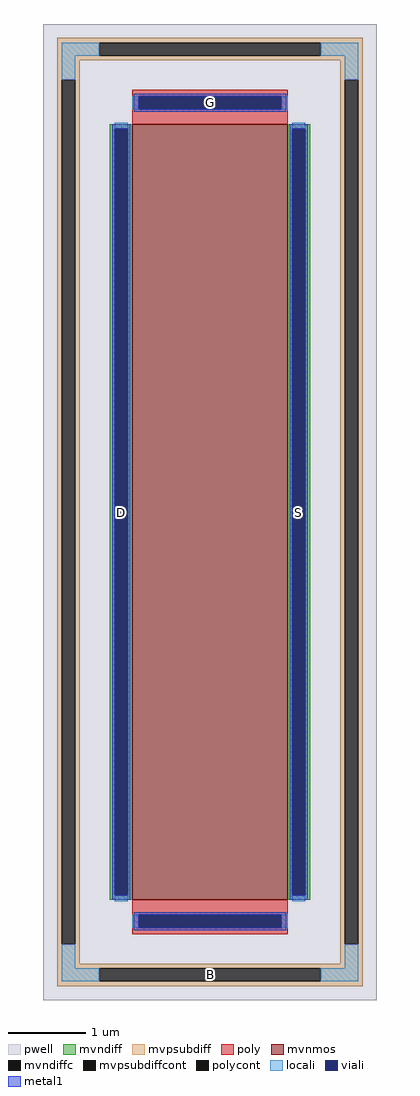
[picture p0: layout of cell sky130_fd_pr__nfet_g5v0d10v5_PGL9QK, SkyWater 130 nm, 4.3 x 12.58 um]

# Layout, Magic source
magic
tech sky130A
magscale 1 2
<< pwell >>
rect -430 -1258 430 1258
<< mvnmos >>
rect -200 -1000 200 1000
<< mvndiff >>
rect -258 988 -200 1000
rect -258 -988 -246 988
rect -212 -988 -200 988
rect -258 -1000 -200 -988
rect 200 988 258 1000
rect 200 -988 212 988
rect 246 -988 258 988
rect 200 -1000 258 -988
<< mvndiffc >>
rect -246 -988 -212 988
rect 212 -988 246 988
<< mvpsubdiff >>
rect -394 1210 394 1222
rect -394 1176 -286 1210
rect 286 1176 394 1210
rect -394 1164 394 1176
rect -394 1114 -336 1164
rect -394 -1114 -382 1114
rect -348 -1114 -336 1114
rect 336 1114 394 1164
rect -394 -1164 -336 -1114
rect 336 -1114 348 1114
rect 382 -1114 394 1114
rect 336 -1164 394 -1114
rect -394 -1176 394 -1164
rect -394 -1210 -286 -1176
rect 286 -1210 394 -1176
rect -394 -1222 394 -1210
<< mvpsubdiffcont >>
rect -286 1176 286 1210
rect -382 -1114 -348 1114
rect 348 -1114 382 1114
rect -286 -1210 286 -1176
<< poly >>
rect -200 1072 200 1088
rect -200 1038 -184 1072
rect 184 1038 200 1072
rect -200 1000 200 1038
rect -200 -1038 200 -1000
rect -200 -1072 -184 -1038
rect 184 -1072 200 -1038
rect -200 -1088 200 -1072
<< polycont >>
rect -184 1038 184 1072
rect -184 -1072 184 -1038
<< locali >>
rect -382 1176 -286 1210
rect 286 1176 382 1210
rect -382 1114 -348 1176
rect 348 1114 382 1176
rect -200 1038 -184 1072
rect 184 1038 200 1072
rect -246 988 -212 1004
rect -246 -1004 -212 -988
rect 212 988 246 1004
rect 212 -1004 246 -988
rect -200 -1072 -184 -1038
rect 184 -1072 200 -1038
rect -382 -1176 -348 -1114
rect 348 -1176 382 -1114
rect -382 -1210 -286 -1176
rect 286 -1210 382 -1176
<< viali >>
rect -184 1038 184 1072
rect -246 -988 -212 988
rect 212 -988 246 988
rect -184 -1072 184 -1038
<< metal1 >>
rect -196 1072 196 1078
rect -196 1038 -184 1072
rect 184 1038 196 1072
rect -196 1032 196 1038
rect -252 988 -206 1000
rect -252 -988 -246 988
rect -212 -988 -206 988
rect -252 -1000 -206 -988
rect 206 988 252 1000
rect 206 -988 212 988
rect 246 -988 252 988
rect 206 -1000 252 -988
rect -196 -1038 196 -1032
rect -196 -1072 -184 -1038
rect 184 -1072 196 -1038
rect -196 -1078 196 -1072
<< labels >>
rlabel mvpsubdiffcont 0 -1193 0 -1193 0 B
port 1 nsew
rlabel mvndiffc -229 0 -229 0 0 D
port 2 nsew
rlabel mvndiffc 229 0 229 0 0 S
port 3 nsew
rlabel polycont 0 1055 0 1055 0 G
port 4 nsew
<< properties >>
string FIXED_BBOX -365 -1193 365 1193
string gencell sky130_fd_pr__nfet_g5v0d10v5
string library sky130
string parameters w 10 l 2 m 1 nf 1 diffcov 100 polycov 100 guard 1 glc 1 grc 1 gtc 1 gbc 1 tbcov 100 rlcov 100 topc 1 botc 1 poverlap 0 doverlap 1 lmin 0.50 wmin 0.42 class mosfet compatible {sky130_fd_pr__nfet_01v8 sky130_fd_pr__nfet_01v8_lvt  sky130_fd_bs_flash__special_sonosfet_star  sky130_fd_pr__nfet_g5v0d10v5 sky130_fd_pr__nfet_05v0_nvt  sky130_fd_pr__nfet_03v3_nvt} full_metal 1 conn_gates 0 viasrc 100 viadrn 100 viagate 100 viagb 0 viagr 0 viagl 0 viagt 0 doports 1
<< end >>
